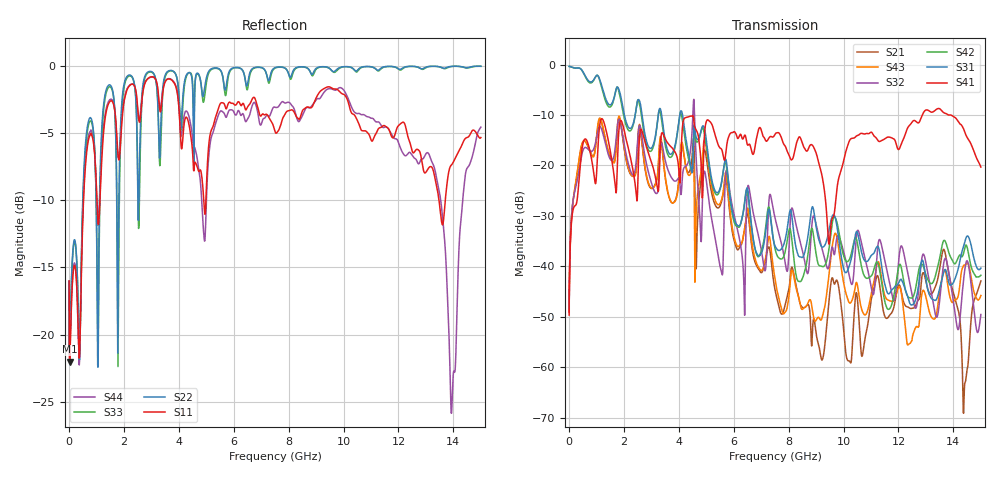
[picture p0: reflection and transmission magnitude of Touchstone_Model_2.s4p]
! Touchstone_Model_2
! Exported from Nexxim
# GHZ S MA R 50.000000
! Modal data exported
! Port[1] = Port1
! Port[2] = Port2
! Port[3] = Port3
! Port[4] = Port4
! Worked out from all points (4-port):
!   1500 points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, 10 MHz to 15 GHz, reference 50 ohm
!   strongest paths, dB at 10 MHz, 3.76 GHz, 7.51 GHz, 11.26 GHz, 15 GHz:
!     S41: -49.7, -16.5, -13.8, -15.1, -20.3
!     S31: -0.3, -17.6, -36.0, -36.1, -40.4
!     S42: -0.3, -18.1, -36.6, -39.5, -41.8
!     S32: -48.4, -22.6, -30.5, -35.6, -49.6
!     S43: -49.0, -27.4, -42.6, -39.1, -45.8
!     S21: -49.0, -27.4, -44.8, -42.1, -42.9
!   lowest |S11| = -22.0 dB at 30 MHz (marker M1), VSWR 1.17, Z = 47.9 + j7.52 ohm
!   |S11| at or under -10 dB: start of sweep to 535.3 MHz; 1.023 GHz to 1.133 GHz (110.4 MHz wide, 10.2 % of centre); 13.47 GHz to 13.7 GHz (231.4 MHz wide, 1.7 % of centre)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
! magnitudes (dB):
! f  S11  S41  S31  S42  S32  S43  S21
! 10 MHz  -16.0  -49.7  -0.3  -0.3  -48.4  -49.0  -49.0
! 30 MHz  -22.0  -40.3  -0.3  -0.3  -39.3  -39.8  -39.8
! 1.13 GHz  -10.1  -11.8  -3.0  -3.3  -12.3  -10.6  -10.8
! 4.53 GHz  -7.4  -10.3  -16.4  -16.9  -8.1  -18.8  -14.9
! 5.54 GHz  -2.8  -16.6  -23.8  -24.0  -40.8  -27.1  -27.5
! 9.21 GHz  -1.8  -21.9  -36.1  -40.0  -36.3  -50.4  -58.6
! 15 GHz  -5.4  -20.3  -40.4  -41.8  -49.6  -45.8  -42.9
